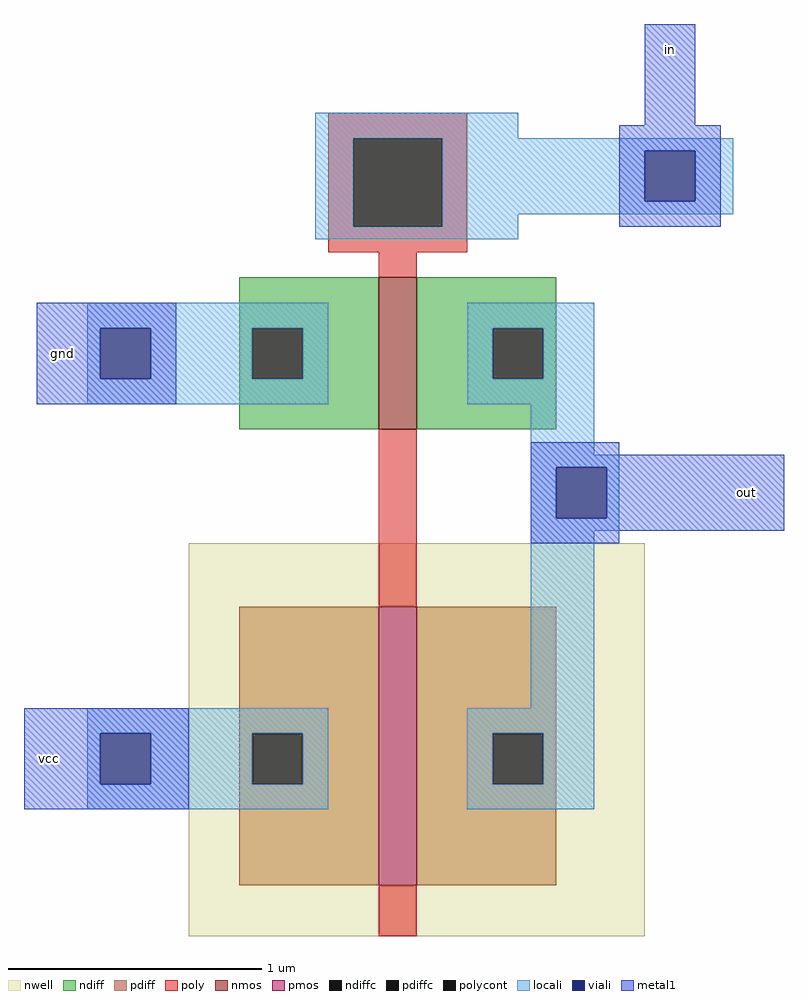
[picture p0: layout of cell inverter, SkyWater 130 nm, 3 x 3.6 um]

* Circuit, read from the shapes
.subckt inverter gnd in out vcc
XM1 out in gnd VSUBS sky130_fd_pr__nfet_01v8 w=0.6 l=0.15
XM2 out in vcc n1 sky130_fd_pr__pfet_01v8 w=1.1 l=0.15
.ends

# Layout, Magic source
magic
tech sky130A
<< nwell >>
rect -50 -210 130 -55
<< nmos >>
rect 25 -10 40 50
<< pmos >>
rect 25 -190 40 -80
<< ndiff >>
rect -30 30 25 50
rect -30 10 -25 30
rect -5 10 25 30
rect -30 -10 25 10
rect 40 30 95 50
rect 40 10 70 30
rect 90 10 95 30
rect 40 -10 95 10
<< pdiff >>
rect -30 -130 25 -80
rect -30 -150 -25 -130
rect -5 -150 25 -130
rect -30 -190 25 -150
rect 40 -130 95 -80
rect 40 -150 70 -130
rect 90 -150 95 -130
rect 40 -190 95 -150
<< ndiffc >>
rect -25 10 -5 30
rect 70 10 90 30
<< pdiffc >>
rect -25 -150 -5 -130
rect 70 -150 90 -130
<< poly >>
rect 5 105 60 115
rect 5 70 15 105
rect 50 70 60 105
rect 5 60 60 70
rect 25 50 40 60
rect 25 -80 40 -10
rect 25 -210 40 -190
<< polycont >>
rect 15 70 50 105
<< locali >>
rect 0 105 80 115
rect 0 70 15 105
rect 50 100 165 105
rect 50 80 130 100
rect 150 80 165 100
rect 50 75 165 80
rect 50 70 80 75
rect 0 65 80 70
rect -90 30 5 40
rect -90 10 -85 30
rect -65 10 -25 30
rect -5 10 5 30
rect -90 0 5 10
rect 60 30 110 40
rect 60 10 70 30
rect 90 10 110 30
rect 60 0 110 10
rect 85 -20 110 0
rect 85 -25 120 -20
rect 85 -45 95 -25
rect 115 -45 120 -25
rect 85 -50 120 -45
rect 85 -120 110 -50
rect -90 -130 5 -120
rect -90 -150 -85 -130
rect -65 -150 -25 -130
rect -5 -150 5 -130
rect -90 -160 5 -150
rect 60 -130 110 -120
rect 60 -150 70 -130
rect 90 -150 110 -130
rect 60 -160 110 -150
<< viali >>
rect 130 80 150 100
rect -85 10 -65 30
rect 95 -45 115 -25
rect -85 -150 -65 -130
<< metal1 >>
rect 130 110 150 150
rect 120 100 160 110
rect 120 80 130 100
rect 150 80 160 100
rect 120 70 160 80
rect -110 30 -55 40
rect -110 10 -85 30
rect -65 10 -55 30
rect -110 0 -55 10
rect 85 -20 120 -15
rect 85 -25 185 -20
rect 85 -45 95 -25
rect 115 -45 185 -25
rect 85 -50 185 -45
rect 85 -55 120 -50
rect -115 -130 -50 -120
rect -115 -150 -85 -130
rect -65 -150 -50 -130
rect -115 -160 -50 -150
<< labels >>
rlabel metal1 135 135 145 145 1 in
rlabel metal1 165 -40 175 -30 1 out
rlabel metal1 -110 -145 -100 -135 1 vcc
rlabel metal1 -105 15 -95 25 1 gnd
<< end >>
